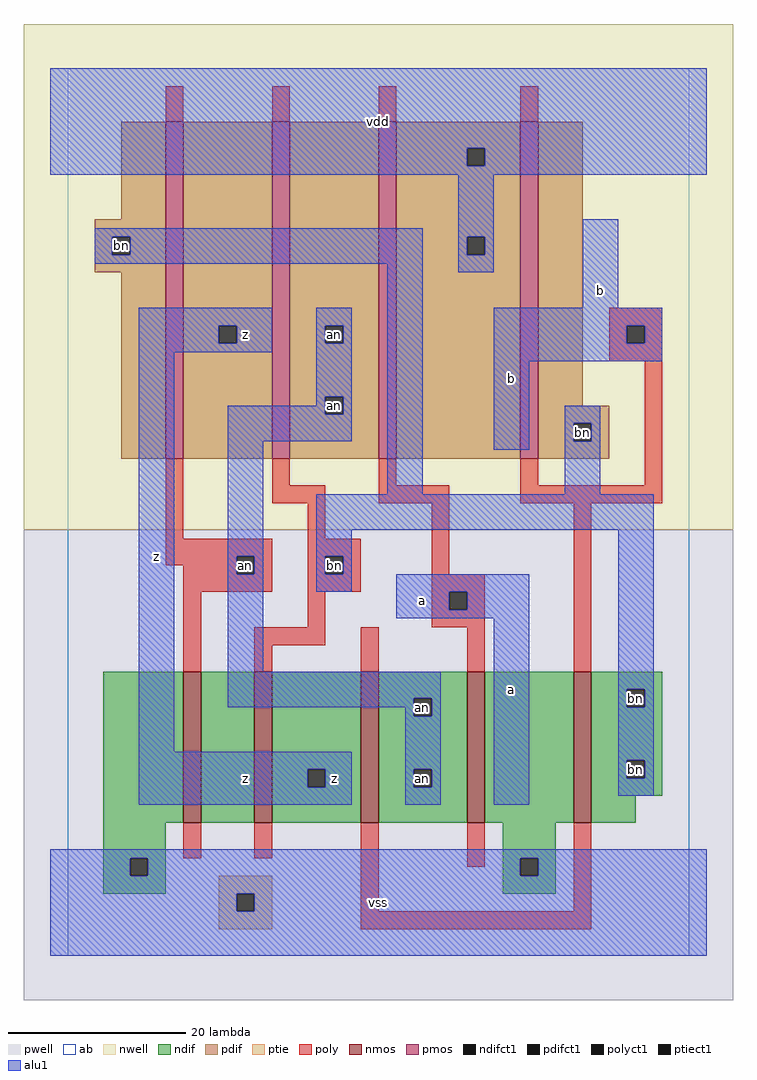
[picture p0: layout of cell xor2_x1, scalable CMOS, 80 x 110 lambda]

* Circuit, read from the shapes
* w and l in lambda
.subckt xor2_x1 a an b bn vdd vss z
M1 n1 an vss vss nfet w=17 l=2
M2 z bn n1 vss nfet w=17 l=2
M3 an b z vss nfet w=17 l=2
M4 vss a an vss nfet w=17 l=2
M5 bn b vss vss nfet w=17 l=2
M6 z an bn n2 pfet w=38 l=2
M7 an bn z n2 pfet w=38 l=2
M8 vdd a an n2 pfet w=38 l=2
M9 bn b vdd n2 pfet w=38 l=2
.ends

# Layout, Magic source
magic
tech scmos
<< ab >>
rect 0 0 70 100
<< nwell >>
rect -5 48 75 105
<< pwell >>
rect -5 -5 75 48
<< poly >>
rect 11 94 13 98
rect 23 94 25 98
rect 35 94 37 98
rect 51 94 53 98
rect 61 71 67 73
rect 61 69 63 71
rect 65 69 67 71
rect 61 67 67 69
rect 11 47 13 56
rect 23 53 25 56
rect 35 53 37 56
rect 51 53 53 56
rect 65 53 67 67
rect 23 51 29 53
rect 35 51 43 53
rect 51 51 67 53
rect 27 47 29 51
rect 11 45 23 47
rect 11 44 19 45
rect 13 43 19 44
rect 21 43 23 45
rect 13 41 23 43
rect 27 45 33 47
rect 27 43 29 45
rect 31 43 33 45
rect 27 41 33 43
rect 41 43 43 51
rect 41 41 47 43
rect 13 32 15 41
rect 27 37 29 41
rect 41 39 43 41
rect 45 39 47 41
rect 41 37 47 39
rect 21 35 29 37
rect 21 32 23 35
rect 33 32 35 37
rect 45 32 47 37
rect 57 32 59 51
rect 13 11 15 15
rect 21 11 23 15
rect 33 5 35 15
rect 45 10 47 15
rect 57 5 59 15
rect 33 3 59 5
<< ndif >>
rect 4 15 13 32
rect 15 15 21 32
rect 23 21 33 32
rect 23 19 27 21
rect 29 19 33 21
rect 23 15 33 19
rect 35 29 45 32
rect 35 27 39 29
rect 41 27 45 29
rect 35 21 45 27
rect 35 19 39 21
rect 41 19 45 21
rect 35 15 45 19
rect 47 15 57 32
rect 59 30 67 32
rect 59 28 63 30
rect 65 28 67 30
rect 59 22 67 28
rect 59 20 63 22
rect 65 20 67 22
rect 59 18 67 20
rect 59 15 64 18
rect 4 11 11 15
rect 4 9 7 11
rect 9 9 11 11
rect 4 7 11 9
rect 49 11 55 15
rect 49 9 51 11
rect 53 9 55 11
rect 49 7 55 9
<< pdif >>
rect 6 83 11 94
rect 3 81 11 83
rect 3 79 5 81
rect 7 79 11 81
rect 3 77 11 79
rect 6 56 11 77
rect 13 71 23 94
rect 13 69 17 71
rect 19 69 23 71
rect 13 56 23 69
rect 25 71 35 94
rect 25 69 29 71
rect 31 69 35 71
rect 25 63 35 69
rect 25 61 29 63
rect 31 61 35 63
rect 25 56 35 61
rect 37 91 51 94
rect 37 89 45 91
rect 47 89 51 91
rect 37 81 51 89
rect 37 79 45 81
rect 47 79 51 81
rect 37 56 51 79
rect 53 62 58 94
rect 53 60 61 62
rect 53 58 57 60
rect 59 58 61 60
rect 53 56 61 58
<< alu1 >>
rect -2 91 72 100
rect -2 89 45 91
rect 47 89 72 91
rect -2 88 72 89
rect 3 81 40 82
rect 3 79 5 81
rect 7 79 40 81
rect 3 78 40 79
rect 8 71 23 73
rect 8 69 17 71
rect 19 69 23 71
rect 8 68 23 69
rect 28 71 32 73
rect 28 69 29 71
rect 31 69 32 71
rect 8 23 12 68
rect 28 63 32 69
rect 28 62 29 63
rect 18 61 29 62
rect 31 61 32 63
rect 18 58 32 61
rect 18 45 22 58
rect 36 52 40 78
rect 44 81 48 88
rect 44 79 45 81
rect 47 79 48 81
rect 44 77 48 79
rect 58 73 62 83
rect 48 71 67 73
rect 48 69 63 71
rect 65 69 67 71
rect 48 67 67 69
rect 48 57 52 67
rect 56 60 60 62
rect 56 58 57 60
rect 59 58 60 60
rect 56 52 60 58
rect 18 43 19 45
rect 21 43 22 45
rect 18 32 22 43
rect 28 48 66 52
rect 28 45 32 48
rect 28 43 29 45
rect 31 43 32 45
rect 28 41 32 43
rect 37 41 52 43
rect 37 39 43 41
rect 45 39 52 41
rect 37 38 52 39
rect 18 29 42 32
rect 18 28 39 29
rect 38 27 39 28
rect 41 27 42 29
rect 8 21 32 23
rect 8 19 27 21
rect 29 19 32 21
rect 8 17 32 19
rect 38 21 42 27
rect 38 19 39 21
rect 41 19 42 21
rect 38 17 42 19
rect 48 17 52 38
rect 62 30 66 48
rect 62 28 63 30
rect 65 28 66 30
rect 62 22 66 28
rect 62 20 63 22
rect 65 20 66 22
rect 62 18 66 20
rect -2 11 72 12
rect -2 9 7 11
rect 9 9 51 11
rect 53 9 72 11
rect -2 7 72 9
rect -2 5 19 7
rect 21 5 72 7
rect -2 0 72 5
<< ptie >>
rect 17 7 23 9
rect 17 5 19 7
rect 21 5 23 7
rect 17 3 23 5
<< nmos >>
rect 13 15 15 32
rect 21 15 23 32
rect 33 15 35 32
rect 45 15 47 32
rect 57 15 59 32
<< pmos >>
rect 11 56 13 94
rect 23 56 25 94
rect 35 56 37 94
rect 51 56 53 94
<< polyct1 >>
rect 63 69 65 71
rect 19 43 21 45
rect 29 43 31 45
rect 43 39 45 41
<< ndifct1 >>
rect 27 19 29 21
rect 39 27 41 29
rect 39 19 41 21
rect 63 28 65 30
rect 63 20 65 22
rect 7 9 9 11
rect 51 9 53 11
<< ptiect1 >>
rect 19 5 21 7
<< pdifct1 >>
rect 5 79 7 81
rect 17 69 19 71
rect 29 69 31 71
rect 29 61 31 63
rect 45 89 47 91
rect 45 79 47 81
rect 57 58 59 60
<< labels >>
rlabel polyct1 20 44 20 44 6 an
rlabel pdifct1 6 80 6 80 6 bn
rlabel ndifct1 40 20 40 20 6 an
rlabel ndifct1 40 28 40 28 6 an
rlabel polyct1 30 44 30 44 6 bn
rlabel pdifct1 30 62 30 62 6 an
rlabel pdifct1 30 70 30 70 6 an
rlabel ndifct1 64 29 64 29 6 bn
rlabel ndifct1 64 21 64 21 6 bn
rlabel pdifct1 58 59 58 59 6 bn
rlabel alu1 10 45 10 45 6 z
rlabel alu1 20 20 20 20 6 z
rlabel alu1 30 20 30 20 6 z
rlabel alu1 20 70 20 70 6 z
rlabel alu1 35 6 35 6 6 vss
rlabel alu1 50 30 50 30 6 a
rlabel alu1 40 40 40 40 6 a
rlabel alu1 50 65 50 65 6 b
rlabel alu1 35 94 35 94 6 vdd
rlabel alu1 60 75 60 75 6 b
<< end >>
